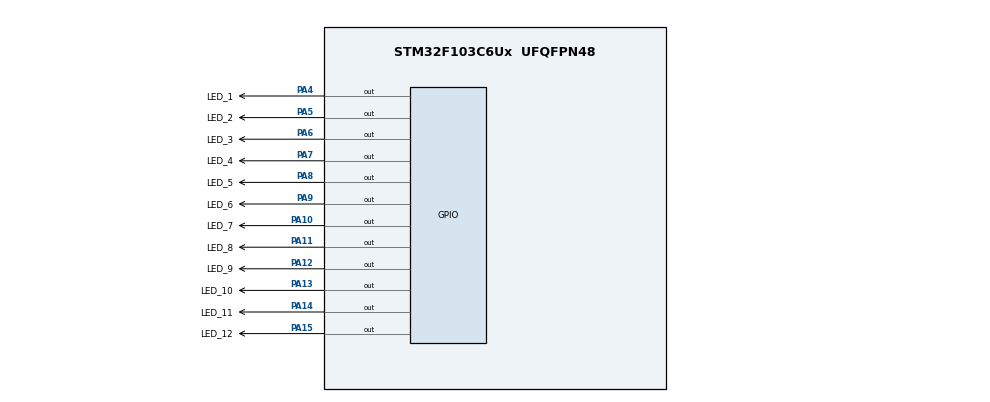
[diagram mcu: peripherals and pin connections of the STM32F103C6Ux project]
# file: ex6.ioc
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Mcu.Family=STM32F1
Mcu.Name=STM32F103C6Ux
Mcu.Package=UFQFPN48
NVIC.PriorityGroup=NVIC_PRIORITYGROUP_4
PA10.GPIO_Label=LED_7
PA10.Signal=GPIO_Output
PA11.GPIO_Label=LED_8
PA11.Signal=GPIO_Output
PA12.GPIO_Label=LED_9
PA12.Signal=GPIO_Output
PA13.GPIO_Label=LED_10
PA13.Signal=GPIO_Output
PA14.GPIO_Label=LED_11
PA14.Signal=GPIO_Output
PA15.GPIO_Label=LED_12
PA15.Signal=GPIO_Output
PA4.GPIO_Label=LED_1
PA4.Signal=GPIO_Output
PA5.GPIO_Label=LED_2
PA5.Signal=GPIO_Output
PA6.GPIO_Label=LED_3
PA6.Signal=GPIO_Output
PA7.GPIO_Label=LED_4
PA7.Signal=GPIO_Output
PA8.GPIO_Label=LED_5
PA8.Signal=GPIO_Output
PA9.GPIO_Label=LED_6
PA9.Signal=GPIO_Output
ProjectManager.HeapSize=0x200
ProjectManager.StackSize=0x400
ProjectManager.TargetToolchain=STM32CubeIDE
RCC.APB1Freq_Value=8000000
RCC.APB2Freq_Value=8000000
VP_SYS_VS_ND.Mode=No_Debug
board=custom

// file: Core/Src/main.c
/* USER CODE BEGIN Header */
/**
  ******************************************************************************
  * @file           : main.c
  * @brief          : Main program body
  ******************************************************************************
  * @attention
  *
  * <h2><center>&copy; Copyright (c) 2023 STMicroelectronics.
  * All rights reserved.</center></h2>
  *
  * This software component is licensed by ST under BSD 3-Clause license,
  * the "License"; You may not use this file except in compliance with the
  * License. You may obtain a copy of the License at:
  *                        opensource.org/licenses/BSD-3-Clause
  *
  ******************************************************************************
  */
/* USER CODE END Header */
#include "main.h"

/* USER CODE BEGIN Includes */
#define NUM_LEDS 12
GPIO_TypeDef* LED_GPIO_Port[NUM_LEDS] = {
	LED_12_GPIO_Port, LED_1_GPIO_Port, LED_2_GPIO_Port, LED_3_GPIO_Port, LED_4_GPIO_Port,
    LED_5_GPIO_Port, LED_6_GPIO_Port, LED_7_GPIO_Port, LED_8_GPIO_Port,
    LED_9_GPIO_Port, LED_10_GPIO_Port, LED_11_GPIO_Port
};

uint16_t LED_Pin[NUM_LEDS] = {
	LED_12_Pin, LED_1_Pin, LED_2_Pin, LED_3_Pin, LED_4_Pin,
    LED_5_Pin, LED_6_Pin, LED_7_Pin, LED_8_Pin,
    LED_9_Pin, LED_10_Pin, LED_11_Pin
};
void clearAllClock(void);
void setNumberOnClock(int);

/* USER CODE END Includes */

void SystemClock_Config(void);
static void MX_GPIO_Init(void);

int main(void)
{

  /* MCU Configuration--------------------------------------------------------*/

  /* Reset of all peripherals, Initializes the Flash interface and the Systick. */
  HAL_Init();

  /* Configure the system clock */
  SystemClock_Config();

  /* Initialize all configured peripherals */
  MX_GPIO_Init();

  /* Infinite loop */
  /* USER CODE BEGIN WHILE */
  clearAllClock();
  int inputHour = 11;
  while (1)
  {
    /* USER CODE END WHILE */
	  setNumberOnClock(inputHour);

  }
}
void clearAllClock(){
	for (int i = 0; i < NUM_LEDS; i++) {
	          HAL_GPIO_WritePin(LED_GPIO_Port[i], LED_Pin[i], GPIO_PIN_SET);
	      }
}
void setNumberOnClock(int num){
	if(num <= 11 && num >= 0){
		HAL_GPIO_WritePin(LED_GPIO_Port[num], LED_Pin[num], GPIO_PIN_RESET);
	}
}

void SystemClock_Config(void)
{
  RCC_OscInitTypeDef RCC_OscInitStruct = {0};
  RCC_ClkInitTypeDef RCC_ClkInitStruct = {0};

  /** Initializes the RCC Oscillators according to the specified parameters
  * in the RCC_OscInitTypeDef structure.
  */
  RCC_OscInitStruct.OscillatorType = RCC_OSCILLATORTYPE_HSI;
  RCC_OscInitStruct.HSIState = RCC_HSI_ON;
  RCC_OscInitStruct.HSICalibrationValue = RCC_HSICALIBRATION_DEFAULT;
  RCC_OscInitStruct.PLL.PLLState = RCC_PLL_NONE;
  if (HAL_RCC_OscConfig(&RCC_OscInitStruct) != HAL_OK)
  {
    Error_Handler();
  }
  /** Initializes the CPU, AHB and APB buses clocks
  */
  RCC_ClkInitStruct.ClockType = RCC_CLOCKTYPE_HCLK|RCC_CLOCKTYPE_SYSCLK
                              |RCC_CLOCKTYPE_PCLK1|RCC_CLOCKTYPE_PCLK2;
  RCC_ClkInitStruct.SYSCLKSource = RCC_SYSCLKSOURCE_HSI;
  RCC_ClkInitStruct.AHBCLKDivider = RCC_SYSCLK_DIV1;
  RCC_ClkInitStruct.APB1CLKDivider = RCC_HCLK_DIV1;
  RCC_ClkInitStruct.APB2CLKDivider = RCC_HCLK_DIV1;

  if (HAL_RCC_ClockConfig(&RCC_ClkInitStruct, FLASH_LATENCY_0) != HAL_OK)
  {
    Error_Handler();
  }
}

static void MX_GPIO_Init(void)
{
  GPIO_InitTypeDef GPIO_InitStruct = {0};

  /* GPIO Ports Clock Enable */
  __HAL_RCC_GPIOA_CLK_ENABLE();

  /*Configure GPIO pin Output Level */
  HAL_GPIO_WritePin(GPIOA, LED_1_Pin|LED_2_Pin|LED_3_Pin|LED_4_Pin
                          |LED_5_Pin|LED_6_Pin|LED_7_Pin|LED_8_Pin
                          |LED_9_Pin|LED_10_Pin|LED_11_Pin|LED_12_Pin, GPIO_PIN_RESET);

  /*Configure GPIO pins : LED_1_Pin LED_2_Pin LED_3_Pin LED_4_Pin
                           LED_5_Pin LED_6_Pin LED_7_Pin LED_8_Pin
                           LED_9_Pin LED_10_Pin LED_11_Pin LED_12_Pin */
  GPIO_InitStruct.Pin = LED_1_Pin|LED_2_Pin|LED_3_Pin|LED_4_Pin
                          |LED_5_Pin|LED_6_Pin|LED_7_Pin|LED_8_Pin
                          |LED_9_Pin|LED_10_Pin|LED_11_Pin|LED_12_Pin;
  GPIO_InitStruct.Mode = GPIO_MODE_OUTPUT_PP;
  GPIO_InitStruct.Pull = GPIO_NOPULL;
  GPIO_InitStruct.Speed = GPIO_SPEED_FREQ_LOW;
  HAL_GPIO_Init(GPIOA, &GPIO_InitStruct);

}

void Error_Handler(void)
{
  __disable_irq();
  while (1)
  {
  }
}

/************************ (C) COPYRIGHT STMicroelectronics *****END OF FILE****/
